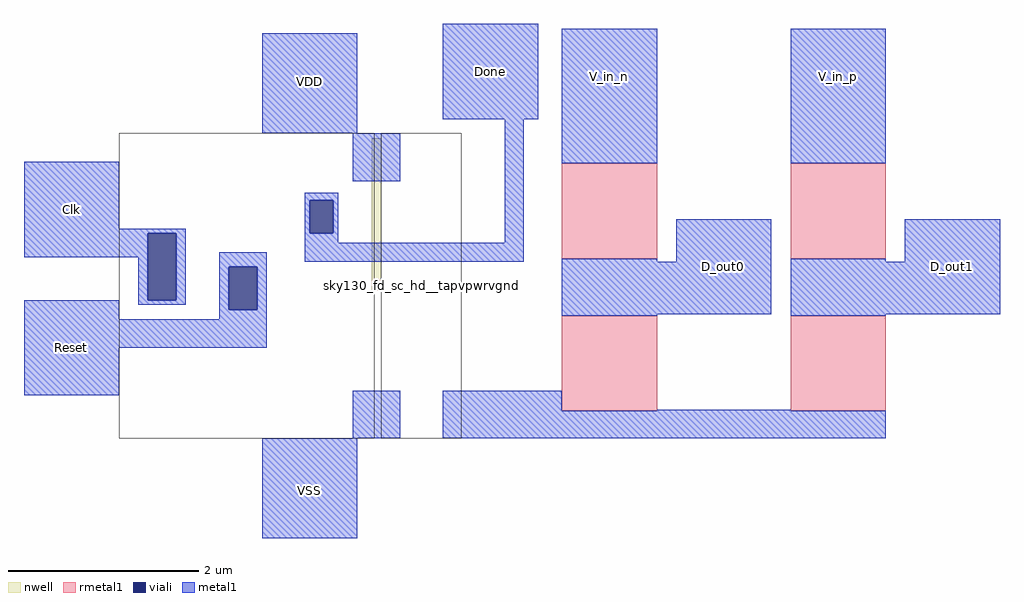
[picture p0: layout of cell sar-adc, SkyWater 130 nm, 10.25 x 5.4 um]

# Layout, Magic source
magic
tech sky130A
magscale 1 2
<< nwell >>
rect 100 869 120 1190
<< viali >>
rect -30 990 20 1060
rect -370 850 -310 990
rect -200 830 -140 920
<< metal1 >>
rect -130 1200 70 1410
rect 250 1230 450 1430
rect -630 1000 -430 1140
rect 60 1100 160 1200
rect -40 1060 30 1075
rect -630 990 -290 1000
rect -630 940 -370 990
rect -390 850 -370 940
rect -310 850 -290 990
rect -40 990 -30 1060
rect 20 990 30 1060
rect -40 970 30 990
rect 380 970 420 1230
rect 500 1190 700 1420
rect 980 1190 1180 1420
rect -630 810 -430 850
rect -390 840 -290 850
rect -220 920 -120 950
rect -40 930 420 970
rect 740 930 940 1020
rect 1220 930 1420 1020
rect -220 830 -200 920
rect -140 830 -120 920
rect 700 880 940 930
rect 1180 880 1420 930
rect 500 870 940 880
rect 980 870 1420 880
rect -220 810 -120 830
rect 700 820 940 870
rect 1180 820 1420 870
rect -630 750 -120 810
rect -630 650 -430 750
rect 60 560 160 660
rect 250 560 500 660
rect 700 560 980 620
rect -130 350 70 560
use sky130_fd_pr__res_generic_m1_MZR69S  R1
transform 1 0 600 0 1 717
box -100 -157 100 157
use sky130_fd_pr__res_generic_m1_MZR69S  R2
transform 1 0 600 0 1 1037
box -100 -157 100 157
use sky130_fd_pr__res_generic_m1_MZR69S  R3
transform 1 0 1080 0 1 717
box -100 -157 100 157
use sky130_fd_pr__res_generic_m1_MZR69S  R4
transform 1 0 1080 0 1 1037
box -100 -157 100 157
use sky130_fd_sc_hd__tapvpwrvgnd_1  sky130_fd_sc_hd__tapvpwrvgnd_1_0 pdk/sky130A/libs.ref/sky130_fd_sc_hd/mag
transform 1 0 158 0 1 608
box -38 -48 130 592
use sky130_fd_sc_hd__and2_0  x2 pdk/sky130A/libs.ref/sky130_fd_sc_hd/mag
transform 1 0 -392 0 1 608
box -38 -48 498 592
<< labels >>
flabel metal1 500 1220 700 1420 0 FreeSans 256 0 0 0 V_in_n
port 5 nsew
flabel metal1 740 820 940 1020 0 FreeSans 256 0 0 0 D_out0
port 7 nsew
flabel metal1 980 1220 1180 1420 0 FreeSans 256 0 0 0 V_in_p
port 2 nsew
flabel metal1 -630 940 -430 1140 0 FreeSans 256 0 0 0 Clk
port 9 nsew
flabel metal1 -630 650 -430 850 0 FreeSans 256 0 0 0 Reset
port 6 nsew
flabel metal1 -130 1210 70 1410 0 FreeSans 256 0 0 0 VDD
port 1 nsew
flabel metal1 -130 350 70 550 0 FreeSans 256 0 0 0 VSS
port 4 nsew
flabel metal1 1220 820 1420 1020 0 FreeSans 256 0 0 0 D_out1
port 8 nsew
flabel metal1 250 1230 450 1430 0 FreeSans 256 0 0 0 Done
port 3 nsew
<< end >>

# cell sky130_fd_pr__res_generic_m1_MZR69S: kit device sky130_fd_pr__res_generic_m1, w 1.0 l 1.0 m 1 nx 1 wmin 0.14 lmin 0.14 rho 0.125 val 125.0m dummy 0 dw 0.0 term 0.0 roverlap 0
